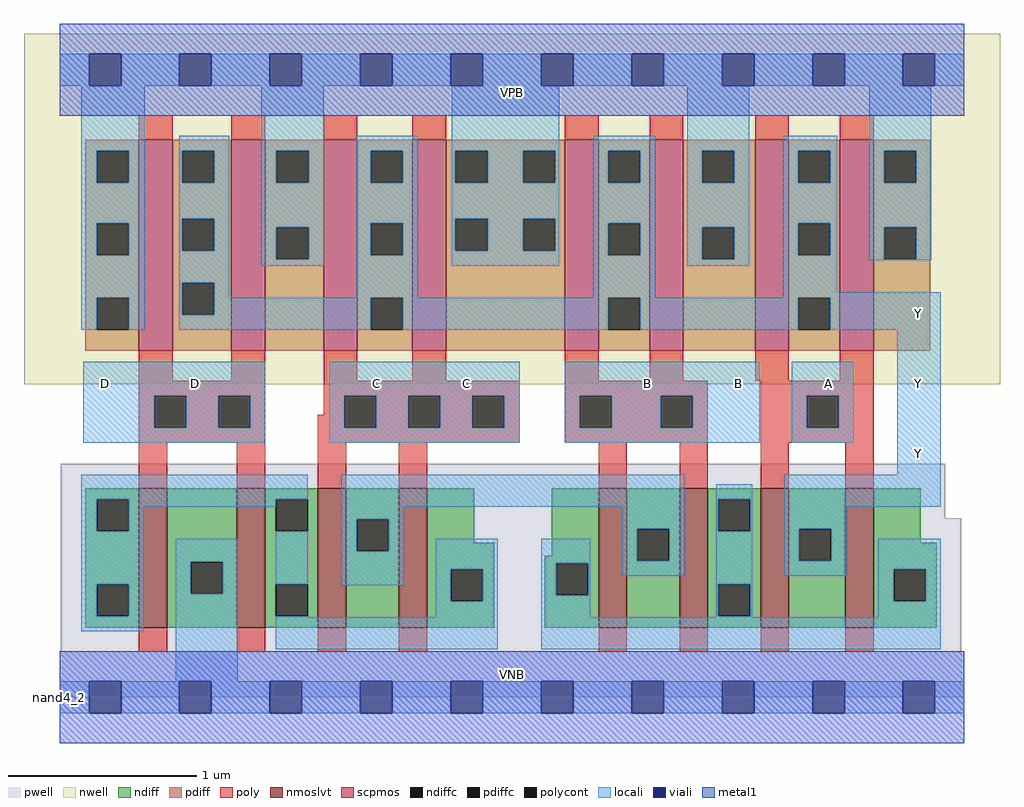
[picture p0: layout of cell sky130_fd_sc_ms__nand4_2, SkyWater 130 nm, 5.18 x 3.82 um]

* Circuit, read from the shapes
.subckt sky130_fd_sc_ms__nand4_2 A B C D VGND VNB VPB VPWR Y
XM1 VGND D n1 VNB sky130_fd_pr__nfet_01v8_lvt w=0.74 l=0.15 m=2
XM2 n2 C n1 VNB sky130_fd_pr__nfet_01v8_lvt w=0.74 l=0.15 m=2
XM3 n2 B n3 VNB sky130_fd_pr__nfet_01v8_lvt w=0.74 l=0.15 m=2
XM4 Y A n3 VNB sky130_fd_pr__nfet_01v8_lvt w=0.74 l=0.15 m=2
XM5 Y D VPWR VPB sky130_fd_pr__pfet_01v8 w=1.12 l=0.18 m=2
XM6 Y C VPWR VPB sky130_fd_pr__pfet_01v8 w=1.12 l=0.18 m=2
XM7 Y B VPWR VPB sky130_fd_pr__pfet_01v8 w=1.12 l=0.18 m=2
XM8 Y A VPWR VPB sky130_fd_pr__pfet_01v8 w=1.12 l=0.18 m=2
.ends

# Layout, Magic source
magic
tech sky130A
magscale 1 2
<< nwell >>
rect -38 332 998 704
<< pwell >>
rect 1 190 940 248
rect 1 49 957 190
rect 0 0 960 49
<< scpmos >>
rect 84 368 120 592
rect 182 368 218 592
rect 280 368 316 592
rect 374 368 410 592
rect 536 368 572 592
rect 626 368 662 592
rect 738 368 774 592
rect 828 368 864 592
<< nmoslvt >>
rect 84 74 114 222
rect 188 74 218 222
rect 274 74 304 222
rect 360 74 390 222
rect 572 74 602 222
rect 658 74 688 222
rect 744 74 774 222
rect 834 74 864 222
<< ndiff >>
rect 27 210 84 222
rect 27 176 39 210
rect 73 176 84 210
rect 27 120 84 176
rect 27 86 39 120
rect 73 86 84 120
rect 27 74 84 86
rect 114 144 188 222
rect 114 110 139 144
rect 173 110 188 144
rect 114 74 188 110
rect 218 210 274 222
rect 218 176 229 210
rect 263 176 274 210
rect 218 120 274 176
rect 218 86 229 120
rect 263 86 274 120
rect 218 74 274 86
rect 304 189 360 222
rect 304 155 315 189
rect 349 155 360 189
rect 304 74 360 155
rect 390 164 440 222
rect 390 136 461 164
rect 522 150 572 222
rect 390 102 415 136
rect 449 102 461 136
rect 390 74 461 102
rect 515 142 572 150
rect 515 108 527 142
rect 561 108 572 142
rect 515 74 572 108
rect 602 179 658 222
rect 602 145 613 179
rect 647 145 658 179
rect 602 74 658 145
rect 688 210 744 222
rect 688 176 699 210
rect 733 176 744 210
rect 688 120 744 176
rect 688 86 699 120
rect 733 86 744 120
rect 688 74 744 86
rect 774 179 834 222
rect 774 145 785 179
rect 819 145 834 179
rect 774 74 834 145
rect 864 164 914 222
rect 864 136 931 164
rect 864 102 885 136
rect 919 102 931 136
rect 864 74 931 102
<< pdiff >>
rect 27 580 84 592
rect 27 546 39 580
rect 73 546 84 580
rect 27 503 84 546
rect 27 469 39 503
rect 73 469 84 503
rect 27 424 84 469
rect 27 390 39 424
rect 73 390 84 424
rect 27 368 84 390
rect 120 580 182 592
rect 120 546 130 580
rect 164 546 182 580
rect 120 508 182 546
rect 120 474 130 508
rect 164 474 182 508
rect 120 440 182 474
rect 120 406 130 440
rect 164 406 182 440
rect 120 368 182 406
rect 218 580 280 592
rect 218 546 230 580
rect 264 546 280 580
rect 218 499 280 546
rect 218 465 230 499
rect 264 465 280 499
rect 218 368 280 465
rect 316 580 374 592
rect 316 546 330 580
rect 364 546 374 580
rect 316 503 374 546
rect 316 469 330 503
rect 364 469 374 503
rect 316 424 374 469
rect 316 390 330 424
rect 364 390 374 424
rect 316 368 374 390
rect 410 580 536 592
rect 410 546 420 580
rect 454 546 492 580
rect 526 546 536 580
rect 410 508 536 546
rect 410 474 420 508
rect 454 474 492 508
rect 526 474 536 508
rect 410 368 536 474
rect 572 580 626 592
rect 572 546 582 580
rect 616 546 626 580
rect 572 503 626 546
rect 572 469 582 503
rect 616 469 626 503
rect 572 424 626 469
rect 572 390 582 424
rect 616 390 626 424
rect 572 368 626 390
rect 662 580 738 592
rect 662 546 682 580
rect 716 546 738 580
rect 662 499 738 546
rect 662 465 682 499
rect 716 465 738 499
rect 662 368 738 465
rect 774 580 828 592
rect 774 546 784 580
rect 818 546 828 580
rect 774 503 828 546
rect 774 469 784 503
rect 818 469 828 503
rect 774 424 828 469
rect 774 390 784 424
rect 818 390 828 424
rect 774 368 828 390
rect 864 580 924 592
rect 864 546 875 580
rect 909 546 924 580
rect 864 499 924 546
rect 864 465 875 499
rect 909 465 924 499
rect 864 368 924 465
<< ndiffc >>
rect 39 176 73 210
rect 39 86 73 120
rect 139 110 173 144
rect 229 176 263 210
rect 229 86 263 120
rect 315 155 349 189
rect 415 102 449 136
rect 527 108 561 142
rect 613 145 647 179
rect 699 176 733 210
rect 699 86 733 120
rect 785 145 819 179
rect 885 102 919 136
<< pdiffc >>
rect 39 546 73 580
rect 39 469 73 503
rect 39 390 73 424
rect 130 546 164 580
rect 130 474 164 508
rect 130 406 164 440
rect 230 546 264 580
rect 230 465 264 499
rect 330 546 364 580
rect 330 469 364 503
rect 330 390 364 424
rect 420 546 454 580
rect 492 546 526 580
rect 420 474 454 508
rect 492 474 526 508
rect 582 546 616 580
rect 582 469 616 503
rect 582 390 616 424
rect 682 546 716 580
rect 682 465 716 499
rect 784 546 818 580
rect 784 469 818 503
rect 784 390 818 424
rect 875 546 909 580
rect 875 465 909 499
<< poly >>
rect 84 592 120 618
rect 182 592 218 618
rect 280 592 316 618
rect 374 592 410 618
rect 536 592 572 618
rect 626 592 662 618
rect 738 592 774 618
rect 828 592 864 618
rect 84 336 120 368
rect 182 336 218 368
rect 84 320 218 336
rect 84 286 100 320
rect 134 286 168 320
rect 202 286 218 320
rect 280 336 316 368
rect 374 336 410 368
rect 536 336 572 368
rect 626 336 662 368
rect 738 336 774 368
rect 828 336 864 368
rect 280 320 488 336
rect 280 300 302 320
rect 84 270 218 286
rect 84 222 114 270
rect 188 222 218 270
rect 274 286 302 300
rect 336 286 370 320
rect 404 286 438 320
rect 472 286 488 320
rect 274 270 488 286
rect 536 320 688 336
rect 536 286 552 320
rect 586 286 638 320
rect 672 286 688 320
rect 536 270 688 286
rect 274 222 304 270
rect 360 222 390 270
rect 572 222 602 270
rect 658 222 688 270
rect 744 320 864 336
rect 744 286 793 320
rect 827 286 864 320
rect 744 270 864 286
rect 744 222 774 270
rect 834 222 864 270
rect 84 48 114 74
rect 188 48 218 74
rect 274 48 304 74
rect 360 48 390 74
rect 572 48 602 74
rect 658 48 688 74
rect 744 48 774 74
rect 834 48 864 74
<< polycont >>
rect 100 286 134 320
rect 168 286 202 320
rect 302 286 336 320
rect 370 286 404 320
rect 438 286 472 320
rect 552 286 586 320
rect 638 286 672 320
rect 793 286 827 320
<< locali >>
rect 0 649 31 683
rect 65 649 127 683
rect 161 649 223 683
rect 257 649 319 683
rect 353 649 415 683
rect 449 649 511 683
rect 545 649 607 683
rect 641 649 703 683
rect 737 649 799 683
rect 833 649 895 683
rect 929 649 960 683
rect 23 580 90 649
rect 23 546 39 580
rect 73 546 90 580
rect 23 503 90 546
rect 23 469 39 503
rect 73 469 90 503
rect 23 424 90 469
rect 23 390 39 424
rect 73 390 90 424
rect 127 580 180 596
rect 127 546 130 580
rect 164 546 180 580
rect 127 508 180 546
rect 127 474 130 508
rect 164 474 180 508
rect 127 440 180 474
rect 214 580 280 649
rect 214 546 230 580
rect 264 546 280 580
rect 214 499 280 546
rect 214 465 230 499
rect 264 465 280 499
rect 214 458 280 465
rect 314 580 380 596
rect 314 546 330 580
rect 364 546 380 580
rect 314 503 380 546
rect 314 469 330 503
rect 364 469 380 503
rect 127 406 130 440
rect 164 424 180 440
rect 314 424 380 469
rect 416 580 530 649
rect 416 546 420 580
rect 454 546 492 580
rect 526 546 530 580
rect 416 508 530 546
rect 416 474 420 508
rect 454 474 492 508
rect 526 474 530 508
rect 416 458 530 474
rect 566 580 632 596
rect 566 546 582 580
rect 616 546 632 580
rect 566 503 632 546
rect 566 469 582 503
rect 616 469 632 503
rect 566 424 632 469
rect 666 580 732 649
rect 666 546 682 580
rect 716 546 732 580
rect 666 499 732 546
rect 666 465 682 499
rect 716 465 732 499
rect 666 458 732 465
rect 768 580 825 596
rect 768 546 784 580
rect 818 546 825 580
rect 768 503 825 546
rect 768 469 784 503
rect 818 469 825 503
rect 768 430 825 469
rect 859 580 925 649
rect 859 546 875 580
rect 909 546 925 580
rect 859 499 925 546
rect 859 465 875 499
rect 909 465 925 499
rect 859 464 925 465
rect 768 424 935 430
rect 164 406 330 424
rect 127 390 330 406
rect 364 390 582 424
rect 616 390 784 424
rect 818 390 935 424
rect 25 320 218 356
rect 25 286 100 320
rect 134 286 168 320
rect 202 286 218 320
rect 25 270 218 286
rect 286 320 488 356
rect 286 286 302 320
rect 336 286 370 320
rect 404 286 438 320
rect 472 286 488 320
rect 286 270 488 286
rect 536 320 743 356
rect 536 286 552 320
rect 586 286 638 320
rect 672 286 743 320
rect 536 270 743 286
rect 777 320 843 356
rect 777 286 793 320
rect 827 286 843 320
rect 777 270 843 286
rect 889 236 935 390
rect 23 210 263 236
rect 23 176 39 210
rect 73 202 229 210
rect 73 176 89 202
rect 23 120 89 176
rect 23 86 39 120
rect 73 86 89 120
rect 23 70 89 86
rect 123 144 189 168
rect 123 110 139 144
rect 173 110 189 144
rect 123 17 189 110
rect 229 120 263 176
rect 299 202 663 236
rect 299 189 365 202
rect 299 155 315 189
rect 349 155 365 189
rect 597 179 663 202
rect 299 119 365 155
rect 399 136 465 168
rect 229 85 263 86
rect 399 102 415 136
rect 449 102 465 136
rect 399 85 465 102
rect 229 51 465 85
rect 511 142 563 168
rect 511 108 527 142
rect 561 108 563 142
rect 597 145 613 179
rect 647 145 663 179
rect 597 129 663 145
rect 697 210 735 226
rect 697 176 699 210
rect 733 176 735 210
rect 511 85 563 108
rect 697 120 735 176
rect 769 202 935 236
rect 769 179 835 202
rect 769 145 785 179
rect 819 145 835 179
rect 769 129 835 145
rect 869 136 935 168
rect 697 86 699 120
rect 733 86 735 120
rect 697 85 735 86
rect 869 102 885 136
rect 919 102 935 136
rect 869 85 935 102
rect 511 51 935 85
rect 0 -17 31 17
rect 65 -17 127 17
rect 161 -17 223 17
rect 257 -17 319 17
rect 353 -17 415 17
rect 449 -17 511 17
rect 545 -17 607 17
rect 641 -17 703 17
rect 737 -17 799 17
rect 833 -17 895 17
rect 929 -17 960 17
<< viali >>
rect 31 649 65 683
rect 127 649 161 683
rect 223 649 257 683
rect 319 649 353 683
rect 415 649 449 683
rect 511 649 545 683
rect 607 649 641 683
rect 703 649 737 683
rect 799 649 833 683
rect 895 649 929 683
rect 31 -17 65 17
rect 127 -17 161 17
rect 223 -17 257 17
rect 319 -17 353 17
rect 415 -17 449 17
rect 511 -17 545 17
rect 607 -17 641 17
rect 703 -17 737 17
rect 799 -17 833 17
rect 895 -17 929 17
<< metal1 >>
rect 0 683 960 715
rect 0 649 31 683
rect 65 649 127 683
rect 161 649 223 683
rect 257 649 319 683
rect 353 649 415 683
rect 449 649 511 683
rect 545 649 607 683
rect 641 649 703 683
rect 737 649 799 683
rect 833 649 895 683
rect 929 649 960 683
rect 0 617 960 649
rect 0 17 960 49
rect 0 -17 31 17
rect 65 -17 127 17
rect 161 -17 223 17
rect 257 -17 319 17
rect 353 -17 415 17
rect 449 -17 511 17
rect 545 -17 607 17
rect 641 -17 703 17
rect 737 -17 799 17
rect 833 -17 895 17
rect 929 -17 960 17
rect 0 -49 960 -17
<< labels >>
flabel pwell s 0 0 960 49 0 FreeSans 200 0 0 0 VNB
port 6 nsew ground bidirectional
flabel nwell s 0 617 960 666 0 FreeSans 200 0 0 0 VPB
port 7 nsew power bidirectional
rlabel comment s 0 0 0 0 4 nand4_2
flabel metal1 s 0 617 960 666 0 FreeSans 340 0 0 0 VPWR
port 8 nsew power bidirectional
flabel metal1 s 0 0 960 49 0 FreeSans 340 0 0 0 VGND
port 5 nsew ground bidirectional
flabel locali s 895 242 929 276 0 FreeSans 340 0 0 0 Y
port 9 nsew signal output
flabel locali s 895 316 929 350 0 FreeSans 340 0 0 0 Y
port 9 nsew signal output
flabel locali s 895 390 929 424 0 FreeSans 340 0 0 0 Y
port 9 nsew signal output
flabel locali s 319 316 353 350 0 FreeSans 340 0 0 0 C
port 3 nsew signal input
flabel locali s 415 316 449 350 0 FreeSans 340 0 0 0 C
port 3 nsew signal input
flabel locali s 31 316 65 350 0 FreeSans 340 0 0 0 D
port 4 nsew signal input
flabel locali s 127 316 161 350 0 FreeSans 340 0 0 0 D
port 4 nsew signal input
flabel locali s 607 316 641 350 0 FreeSans 340 0 0 0 B
port 2 nsew signal input
flabel locali s 703 316 737 350 0 FreeSans 340 0 0 0 B
port 2 nsew signal input
flabel locali s 799 316 833 350 0 FreeSans 340 0 0 0 A
port 1 nsew signal input
<< properties >>
string LEFsite unit
string LEFclass CORE
string FIXED_BBOX 0 0 960 666
string GDS_FILE $PDKPATH/libs.ref/sky130_fd_sc_ms/gds/sky130_fd_sc_ms.gds
string LEFsymmetry X Y
string GDS_END 2625174
string GDS_START 2616492
<< end >>
